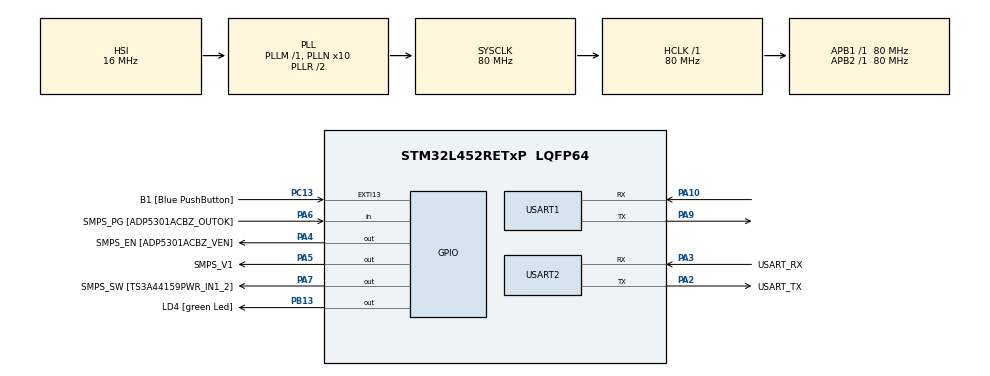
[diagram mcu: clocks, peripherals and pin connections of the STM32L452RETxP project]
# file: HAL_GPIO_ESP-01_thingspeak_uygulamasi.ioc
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Mcu.Family=STM32L4
Mcu.Name=STM32L452RETxP
Mcu.Package=LQFP64
NVIC.PriorityGroup=NVIC_PRIORITYGROUP_4
PA10.Mode=Asynchronous
PA10.Signal=USART1_RX
PA13\ (JTMS/SWDIO).GPIO_Label=TMS
PA13\ (JTMS/SWDIO).Mode=Serial_Wire
PA13\ (JTMS/SWDIO).Signal=SYS_JTMS-SWDIO
PA14\ (JTCK/SWCLK).GPIO_Label=TCK
PA14\ (JTCK/SWCLK).Mode=Serial_Wire
PA14\ (JTCK/SWCLK).Signal=SYS_JTCK-SWCLK
PA2.GPIO_Label=USART_TX
PA2.GPIO_Mode=GPIO_MODE_AF_PP
PA2.GPIO_PuPd=GPIO_NOPULL
PA2.GPIO_Speed=GPIO_SPEED_FREQ_VERY_HIGH
PA2.Mode=Asynchronous
PA2.Signal=USART2_TX
PA3.GPIO_Label=USART_RX
PA3.GPIO_Mode=GPIO_MODE_AF_PP
PA3.GPIO_PuPd=GPIO_NOPULL
PA3.GPIO_Speed=GPIO_SPEED_FREQ_VERY_HIGH
PA3.Mode=Asynchronous
PA3.Signal=USART2_RX
PA4.GPIO_Label=SMPS_EN [ADP5301ACBZ_VEN]
PA4.Signal=GPIO_Output
PA5.GPIO_Label=SMPS_V1
PA5.GPIO_ModeDefaultOutputPP=GPIO_MODE_OUTPUT_PP
PA5.GPIO_PuPd=GPIO_NOPULL
PA5.GPIO_Speed=GPIO_SPEED_FREQ_LOW
PA5.Signal=GPIO_Output
PA6.GPIO_Label=SMPS_PG [ADP5301ACBZ_OUTOK]
PA6.GPIO_PuPd=GPIO_PULLUP
PA6.Signal=GPIO_Input
PA7.GPIO_Label=SMPS_SW [TS3A44159PWR_IN1_2]
PA7.Signal=GPIO_Output
PA9.Mode=Asynchronous
PA9.Signal=USART1_TX
PB13.GPIO_Label=LD4 [green Led]
PB13.Signal=GPIO_Output
PB3\ (JTDO/TRACESWO).GPIO_Label=SWO
PB3\ (JTDO/TRACESWO).Signal=SYS_JTDO-SWO
PC13.GPIO_Label=B1 [Blue PushButton]
PC13.GPIO_ModeDefaultEXTI=GPIO_MODE_IT_FALLING
PC13.GPIO_PuPd=GPIO_NOPULL
PC13.Signal=GPXTI13
PC14-OSC32_IN\ (PC14).Mode=LSE-External-Oscillator
PC14-OSC32_IN\ (PC14).Signal=RCC_OSC32_IN
PC15-OSC32_OUT\ (PC15).Mode=LSE-External-Oscillator
PC15-OSC32_OUT\ (PC15).Signal=RCC_OSC32_OUT
PH0-OSC_IN\ (PH0).GPIO_Label=MCO
PH0-OSC_IN\ (PH0).Mode=HSE-External-Clock-Source
PH0-OSC_IN\ (PH0).Signal=RCC_OSC_IN
PH1-OSC_OUT\ (PH1).Signal=RCC_OSC_OUT
ProjectManager.HeapSize=0x200
ProjectManager.StackSize=0x400
ProjectManager.TargetToolchain=STM32CubeIDE
RCC.ADCFreq_Value=64000000
RCC.AHBFreq_Value=80000000
RCC.APB1Freq_Value=80000000
RCC.APB1TimFreq_Value=80000000
RCC.APB2Freq_Value=80000000
RCC.APB2TimFreq_Value=80000000
RCC.CortexFreq_Value=80000000
RCC.HCLKFreq_Value=80000000
RCC.HSE_VALUE=8000000
RCC.HSI48_VALUE=48000000
RCC.HSI_VALUE=16000000
RCC.MSI_VALUE=4000000
RCC.PLLN=10
RCC.PLLSourceVirtual=RCC_PLLSOURCE_HSI
RCC.PREFETCH_ENABLE=1
RCC.SYSCLKFreq_VALUE=80000000
RCC.SYSCLKSource=RCC_SYSCLKSOURCE_PLLCLK
RCC.USBFreq_Value=64000000
RCC.VCOOutputFreq_Value=160000000
USART1.VirtualMode-Asynchronous=VM_ASYNC
USART2.VirtualMode-Asynchronous=VM_ASYNC
board=NUCLEO-L452RE-P

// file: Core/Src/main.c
/* USER CODE BEGIN Header */
/**
  ******************************************************************************
  * @file           : main.c
  * @brief          : Main program body
  ******************************************************************************
  * @attention
  *
  * Copyright (c) 2024 STMicroelectronics.
  * All rights reserved.
  *
  * This software is licensed under terms that can be found in the LICENSE file
  * in the root directory of this software component.
  * If no LICENSE file comes with this software, it is provided AS-IS.
  *
  ******************************************************************************
  */
/* USER CODE END Header */
#include "main.h"

/* USER CODE BEGIN Includes */
#include "string.h"
#include "stdio.h"
/* USER CODE END Includes */

UART_HandleTypeDef huart1;
UART_HandleTypeDef huart2;

void SystemClock_Config(void);
static void MX_GPIO_Init(void);
static void MX_USART2_UART_Init(void);
static void MX_USART1_UART_Init(void);

int main(void)
{

  /* MCU Configuration--------------------------------------------------------*/

  /* Reset of all peripherals, Initializes the Flash interface and the Systick. */
  HAL_Init();

  /* Configure the system clock */
  SystemClock_Config();

  /* Initialize all configured peripherals */
  MX_GPIO_Init();
  MX_USART2_UART_Init();
  MX_USART1_UART_Init();
  /* USER CODE BEGIN 2 */
  char api[58] = "https://api.thingspeak.com/update?api_key=PUAP0YK403IYN5RZ";
   // Change PUAP0YK403IYN5RZ to your key and length 58 to new length
   uint8_t f1;
   uint32_t f2;
   char ATcommand[100];
   char toPost[150];
   uint8_t rxBuffer[150] = {0};
   uint8_t ATisOK;

   sprintf(ATcommand,"AT+RST\r\n");
   memset(rxBuffer,0,sizeof(rxBuffer));
   HAL_UART_Transmit(&huart1,(uint8_t *)ATcommand,strlen(ATcommand),1000);
   HAL_UART_Receive (&huart1, rxBuffer, 512, 100);
   HAL_Delay(500);

   ATisOK = 0;
   while(!ATisOK){
     sprintf(ATcommand,"AT+CWMODE_CUR=1\r\n");
     memset(rxBuffer,0,sizeof(rxBuffer));
     HAL_UART_Transmit(&huart1,(uint8_t *)ATcommand,strlen(ATcommand),1000);
     HAL_UART_Receive (&huart1, rxBuffer, 512, 1000);
     if(strstr((char *)rxBuffer,"OK")){
       ATisOK = 1;
     }
     HAL_Delay(500);
   }

   ATisOK = 0;
   while(!ATisOK){
     sprintf(ATcommand,"AT+CWJAP_CUR=\"TPU4G_8NRL\",\"31408902\"\r\n");
     memset(rxBuffer,0,sizeof(rxBuffer));
     HAL_UART_Transmit(&huart1,(uint8_t *)ATcommand,strlen(ATcommand),1000);
     HAL_UART_Receive (&huart1, rxBuffer, 512, 20000);
     if(strstr((char *)rxBuffer,"OK")){
       ATisOK = 1;
     }
     HAL_Delay(500);
   }

   ATisOK = 0;
   while(!ATisOK){
     sprintf(ATcommand,"AT+CIPMUX=0\r\n");
     memset(rxBuffer,0,sizeof(rxBuffer));
     HAL_UART_Transmit(&huart1,(uint8_t *)ATcommand,strlen(ATcommand),1000);
     HAL_UART_Receive (&huart1, rxBuffer, 512, 1000);
     if(strstr((char *)rxBuffer,"OK")){
       ATisOK = 1;
     }
     HAL_Delay(500);
   }
  /* USER CODE END 2 */

  /* Infinite loop */
  while (1)
  {
	  for(f1=0; f1<101; f1=f1+20)
	      {
	        sprintf(ATcommand,"AT+CIPSTART=\"TCP\",\"api.thingspeak.com\",80\r\n");
	        memset(rxBuffer,0,sizeof(rxBuffer));
	        HAL_UART_Transmit(&huart1,(uint8_t *)ATcommand,strlen(ATcommand),1000);
	        HAL_UART_Receive (&huart1, rxBuffer, 512, 1000);
	        HAL_Delay(500);

	        f2 = HAL_GetTick();
	        sprintf(toPost,"GET %s&field1=%d&field2=%lu\r\n",api,f1,f2);
	        sprintf(ATcommand,"AT+CIPSEND=%d\r\n",strlen(toPost));
	        memset(rxBuffer,0,sizeof(rxBuffer));
	        HAL_UART_Transmit(&huart1,(uint8_t *)ATcommand,strlen(ATcommand),1000);
	        HAL_UART_Receive (&huart1, rxBuffer, 512, 1000);
	        if(strstr((char *)rxBuffer,">"))
	        {
	          memset(rxBuffer,0,sizeof(rxBuffer));
	          HAL_UART_Transmit(&huart1,(uint8_t *)toPost,strlen(toPost),1000);
	          HAL_UART_Receive (&huart1, rxBuffer, 512, 1000);
	        }
	        HAL_Delay(15000);
	      }
  }
}

void SystemClock_Config(void)
{
  RCC_OscInitTypeDef RCC_OscInitStruct = {0};
  RCC_ClkInitTypeDef RCC_ClkInitStruct = {0};

  /** Configure the main internal regulator output voltage
  */
  if (HAL_PWREx_ControlVoltageScaling(PWR_REGULATOR_VOLTAGE_SCALE1) != HAL_OK)
  {
    Error_Handler();
  }

  /** Initializes the RCC Oscillators according to the specified parameters
  * in the RCC_OscInitTypeDef structure.
  */
  RCC_OscInitStruct.OscillatorType = RCC_OSCILLATORTYPE_HSI;
  RCC_OscInitStruct.HSIState = RCC_HSI_ON;
  RCC_OscInitStruct.HSICalibrationValue = 64;
  RCC_OscInitStruct.PLL.PLLState = RCC_PLL_ON;
  RCC_OscInitStruct.PLL.PLLSource = RCC_PLLSOURCE_HSI;
  RCC_OscInitStruct.PLL.PLLM = 1;
  RCC_OscInitStruct.PLL.PLLN = 10;
  RCC_OscInitStruct.PLL.PLLP = RCC_PLLP_DIV7;
  RCC_OscInitStruct.PLL.PLLQ = RCC_PLLQ_DIV2;
  RCC_OscInitStruct.PLL.PLLR = RCC_PLLR_DIV2;
  if (HAL_RCC_OscConfig(&RCC_OscInitStruct) != HAL_OK)
  {
    Error_Handler();
  }

  /** Initializes the CPU, AHB and APB buses clocks
  */
  RCC_ClkInitStruct.ClockType = RCC_CLOCKTYPE_HCLK|RCC_CLOCKTYPE_SYSCLK
                              |RCC_CLOCKTYPE_PCLK1|RCC_CLOCKTYPE_PCLK2;
  RCC_ClkInitStruct.SYSCLKSource = RCC_SYSCLKSOURCE_PLLCLK;
  RCC_ClkInitStruct.AHBCLKDivider = RCC_SYSCLK_DIV1;
  RCC_ClkInitStruct.APB1CLKDivider = RCC_HCLK_DIV1;
  RCC_ClkInitStruct.APB2CLKDivider = RCC_HCLK_DIV1;

  if (HAL_RCC_ClockConfig(&RCC_ClkInitStruct, FLASH_LATENCY_4) != HAL_OK)
  {
    Error_Handler();
  }
}

static void MX_USART1_UART_Init(void)
{

  huart1.Instance = USART1;
  huart1.Init.BaudRate = 115200;
  huart1.Init.WordLength = UART_WORDLENGTH_8B;
  huart1.Init.StopBits = UART_STOPBITS_1;
  huart1.Init.Parity = UART_PARITY_NONE;
  huart1.Init.Mode = UART_MODE_TX_RX;
  huart1.Init.HwFlowCtl = UART_HWCONTROL_NONE;
  huart1.Init.OverSampling = UART_OVERSAMPLING_16;
  huart1.Init.OneBitSampling = UART_ONE_BIT_SAMPLE_DISABLE;
  huart1.AdvancedInit.AdvFeatureInit = UART_ADVFEATURE_NO_INIT;
  if (HAL_UART_Init(&huart1) != HAL_OK)
  {
    Error_Handler();
  }

}

static void MX_USART2_UART_Init(void)
{

  huart2.Instance = USART2;
  huart2.Init.BaudRate = 115200;
  huart2.Init.WordLength = UART_WORDLENGTH_8B;
  huart2.Init.StopBits = UART_STOPBITS_1;
  huart2.Init.Parity = UART_PARITY_NONE;
  huart2.Init.Mode = UART_MODE_TX_RX;
  huart2.Init.HwFlowCtl = UART_HWCONTROL_NONE;
  huart2.Init.OverSampling = UART_OVERSAMPLING_16;
  huart2.Init.OneBitSampling = UART_ONE_BIT_SAMPLE_DISABLE;
  huart2.AdvancedInit.AdvFeatureInit = UART_ADVFEATURE_NO_INIT;
  if (HAL_UART_Init(&huart2) != HAL_OK)
  {
    Error_Handler();
  }

}

static void MX_GPIO_Init(void)
{
  GPIO_InitTypeDef GPIO_InitStruct = {0};

  /* GPIO Ports Clock Enable */
  __HAL_RCC_GPIOC_CLK_ENABLE();
  __HAL_RCC_GPIOH_CLK_ENABLE();
  __HAL_RCC_GPIOA_CLK_ENABLE();
  __HAL_RCC_GPIOB_CLK_ENABLE();

  /*Configure GPIO pin Output Level */
  HAL_GPIO_WritePin(GPIOA, SMPS_EN_Pin|SMPS_V1_Pin|SMPS_SW_Pin, GPIO_PIN_RESET);

  /*Configure GPIO pin Output Level */
  HAL_GPIO_WritePin(LD4_GPIO_Port, LD4_Pin, GPIO_PIN_RESET);

  /*Configure GPIO pin : B1_Pin */
  GPIO_InitStruct.Pin = B1_Pin;
  GPIO_InitStruct.Mode = GPIO_MODE_IT_FALLING;
  GPIO_InitStruct.Pull = GPIO_NOPULL;
  HAL_GPIO_Init(B1_GPIO_Port, &GPIO_InitStruct);

  /*Configure GPIO pins : SMPS_EN_Pin SMPS_V1_Pin SMPS_SW_Pin */
  GPIO_InitStruct.Pin = SMPS_EN_Pin|SMPS_V1_Pin|SMPS_SW_Pin;
  GPIO_InitStruct.Mode = GPIO_MODE_OUTPUT_PP;
  GPIO_InitStruct.Pull = GPIO_NOPULL;
  GPIO_InitStruct.Speed = GPIO_SPEED_FREQ_LOW;
  HAL_GPIO_Init(GPIOA, &GPIO_InitStruct);

  /*Configure GPIO pin : SMPS_PG_Pin */
  GPIO_InitStruct.Pin = SMPS_PG_Pin;
  GPIO_InitStruct.Mode = GPIO_MODE_INPUT;
  GPIO_InitStruct.Pull = GPIO_PULLUP;
  HAL_GPIO_Init(SMPS_PG_GPIO_Port, &GPIO_InitStruct);

  /*Configure GPIO pin : LD4_Pin */
  GPIO_InitStruct.Pin = LD4_Pin;
  GPIO_InitStruct.Mode = GPIO_MODE_OUTPUT_PP;
  GPIO_InitStruct.Pull = GPIO_NOPULL;
  GPIO_InitStruct.Speed = GPIO_SPEED_FREQ_LOW;
  HAL_GPIO_Init(LD4_GPIO_Port, &GPIO_InitStruct);

}

void Error_Handler(void)
{
  __disable_irq();
  while (1)
  {
  }
}
